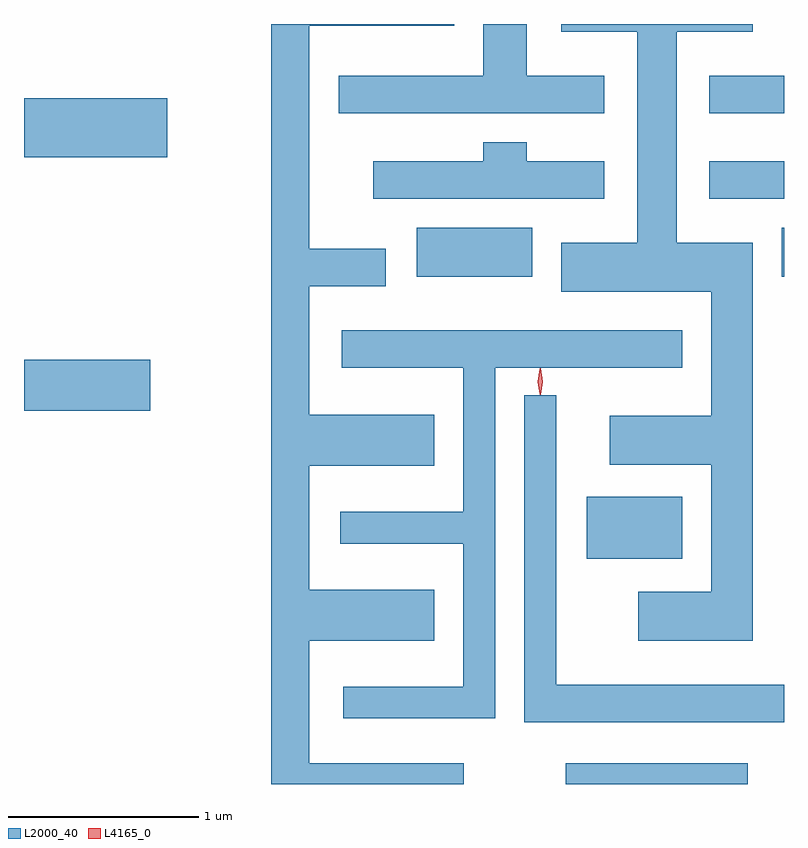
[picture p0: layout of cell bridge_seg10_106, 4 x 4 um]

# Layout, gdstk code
import gdstk
lib = gdstk.Library(unit=1e-6, precision=1e-09)
def R(c, l, rs):  # rectangles x0, y0, x1, y1
    for r in rs: c.add(gdstk.rectangle(r[:2], r[2:], *l))
def P(c, l, *ps):  # polygons
    for p in ps: c.add(gdstk.Polygon(p, *l))
L2000_40 = (2000, 40)
L4165_0 = (4165, 0)

bridge_seg10_106 = lib.new_cell('bridge_seg10_106')
R(bridge_seg10_106, L2000_40, [(1627.261,2140.126,1628.219,2140.234), (1627.371,2141.311,1627.874,2141.639), (1624.409,2142.091,1625.074,2142.359), (1626.476,2142.796,1627.084,2143.054), (1628.396,2142.796,1628.409,2143.054), (1628.016,2143.206,1628.409,2143.404), (1624.409,2143.426,1625.164,2143.734), (1628.016,2143.656,1628.409,2143.854)])
P(bridge_seg10_106, L2000_40, [(1626.724,2140.234),(1625.909,2140.234),(1625.909,2140.881),(1626.569,2140.881),(1626.569,2141.149),(1625.909,2141.149),(1625.909,2141.801),(1626.569,2141.801),(1626.569,2142.069),(1625.909,2142.069),(1625.909,2142.746),(1626.314,2142.746),(1626.314,2142.944),(1625.909,2142.944),(1625.909,2144.116),(1626.674,2144.116),(1626.674,2144.126),(1625.711,2144.126),(1625.711,2140.126),(1626.724,2140.126)],
  [(1628.244,2142.974),(1627.844,2142.974),(1627.844,2144.086),(1628.244,2144.086),(1628.244,2144.126),(1627.236,2144.126),(1627.236,2144.086),(1627.636,2144.086),(1627.636,2142.974),(1627.236,2142.974),(1627.236,2142.716),(1628.026,2142.716),(1628.026,2142.064),(1627.491,2142.064),(1627.491,2141.806),(1628.026,2141.806),(1628.026,2141.139),(1627.641,2141.139),(1627.641,2140.881),(1628.244,2140.881)],
  [(1627.464,2143.854),(1627.054,2143.854),(1627.054,2144.126),(1626.826,2144.126),(1626.826,2143.854),(1626.066,2143.854),(1626.066,2143.656),(1627.464,2143.656)],
  [(1627.464,2143.404),(1627.054,2143.404),(1627.054,2143.504),(1626.826,2143.504),(1626.826,2143.404),(1626.246,2143.404),(1626.246,2143.206),(1627.464,2143.206)],
  [(1626.889,2142.316),(1627.874,2142.316),(1627.874,2142.514),(1626.081,2142.514),(1626.081,2142.316),(1626.721,2142.316),(1626.721,2141.559),(1626.073,2141.559),(1626.073,2141.391),(1626.721,2141.391),(1626.721,2140.639),(1626.088,2140.639),(1626.088,2140.471),(1626.889,2140.471)],
  [(1628.409,2140.649),(1627.209,2140.649),(1627.209,2142.173),(1627.041,2142.173),(1627.041,2140.451),(1628.409,2140.451)])
P(bridge_seg10_106, L4165_0, [(1627.128,2142.174),(1627.127,2142.175),(1627.118,2142.244),(1627.127,2142.313),(1627.128,2142.314),(1627.128,2142.313),(1627.138,2142.244),(1627.128,2142.175)],
  [(1627.123,2142.178),(1627.114,2142.244),(1627.123,2142.311),(1627.124,2142.311),(1627.124,2142.311),(1627.134,2142.244),(1627.124,2142.178),(1627.124,2142.178)])

lib.write_gds('bridge_seg10_106.gds')
